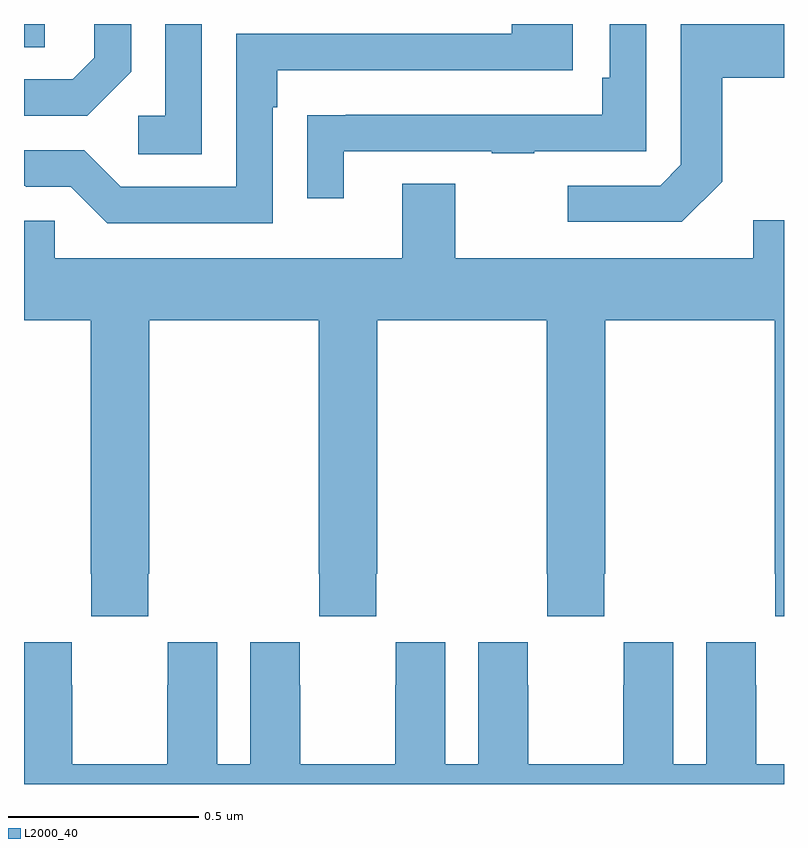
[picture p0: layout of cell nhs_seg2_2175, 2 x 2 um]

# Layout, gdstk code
import gdstk
lib = gdstk.Library(unit=1e-6, precision=1e-09)
def R(c, l, rs):  # rectangles x0, y0, x1, y1
    for r in rs: c.add(gdstk.rectangle(r[:2], r[2:], *l))
def P(c, l, *ps):  # polygons
    for p in ps: c.add(gdstk.Polygon(p, *l))
L2000_40 = (2000, 40)

nhs_seg2_2175 = lib.new_cell('nhs_seg2_2175')
R(nhs_seg2_2175, L2000_40, [(138,597.739,138.054,597.8)])
P(nhs_seg2_2175, L2000_40, [(138.654,597.581),(138.667,597.581),(138.667,597.678),(139.444,597.678),(139.444,597.8),(139.283,597.8),(139.283,597.774),(138.558,597.774),(138.558,597.372),(138.255,597.372),(138.159,597.468),(138,597.468),(138,597.375),(138.005,597.375),(138.005,597.372),(138.123,597.372),(138.219,597.276),(138.654,597.276)],
  [(138.841,597.465),(139.231,597.465),(139.231,597.46),(139.343,597.46),(139.343,597.465),(139.638,597.465),(139.638,597.8),(139.542,597.8),(139.542,597.658),(139.522,597.658),(139.522,597.561),(138.847,597.561),(138.847,597.56),(138.745,597.56),(138.745,597.342),(138.841,597.342)],
  [(138.468,597.8),(138.372,597.8),(138.372,597.558),(138.3,597.558),(138.3,597.457),(138.468,597.457)],
  [(139.837,597.385),(139.837,597.658),(140,597.658),(140,597.8),(139.728,597.8),(139.728,597.429),(139.674,597.375),(139.431,597.375),(139.431,597.279),(139.731,597.279)],
  [(138.282,597.674),(138.282,597.8),(138.185,597.8),(138.185,597.711),(138.128,597.654),(138,597.654),(138,597.558),(138.166,597.558)],
  [(138.327,596.353),(138.33,596.353),(138.33,597.02),(138.775,597.02),(138.775,596.353),(138.777,596.353),(138.777,596.241),(138.927,596.241),(138.927,596.353),(138.93,596.353),(138.93,597.02),(139.375,597.02),(139.375,596.353),(139.377,596.353),(139.377,596.241),(139.527,596.241),(139.527,596.353),(139.53,596.353),(139.53,597.02),(139.975,597.02),(139.975,596.353),(139.977,596.353),(139.977,596.241),(140,596.241),(140,597.283),(139.919,597.283),(139.919,597.184),(139.135,597.184),(139.135,597.379),(138.995,597.379),(138.995,597.184),(138.081,597.184),(138.081,597.282),(138,597.282),(138,597.02),(138.175,597.02),(138.175,596.353),(138.177,596.353),(138.177,596.241),(138.327,596.241)],
  [(140,595.852),(139.927,595.852),(139.927,596.06),(139.926,596.06),(139.926,596.173),(139.796,596.173),(139.796,595.852),(139.708,595.852),(139.708,596.173),(139.578,596.173),(139.578,596.06),(139.577,596.06),(139.577,595.852),(139.327,595.852),(139.327,596.06),(139.326,596.06),(139.326,596.173),(139.196,596.173),(139.196,595.852),(139.108,595.852),(139.108,596.173),(138.978,596.173),(138.978,596.06),(138.977,596.06),(138.977,595.852),(138.727,595.852),(138.727,596.06),(138.726,596.06),(138.726,596.173),(138.596,596.173),(138.596,595.852),(138.508,595.852),(138.508,596.173),(138.378,596.173),(138.378,596.06),(138.377,596.06),(138.377,595.852),(138.127,595.852),(138.127,596.06),(138.126,596.06),(138.126,596.173),(138,596.173),(138,595.8),(140,595.8)])

lib.write_gds('nhs_seg2_2175.gds')
